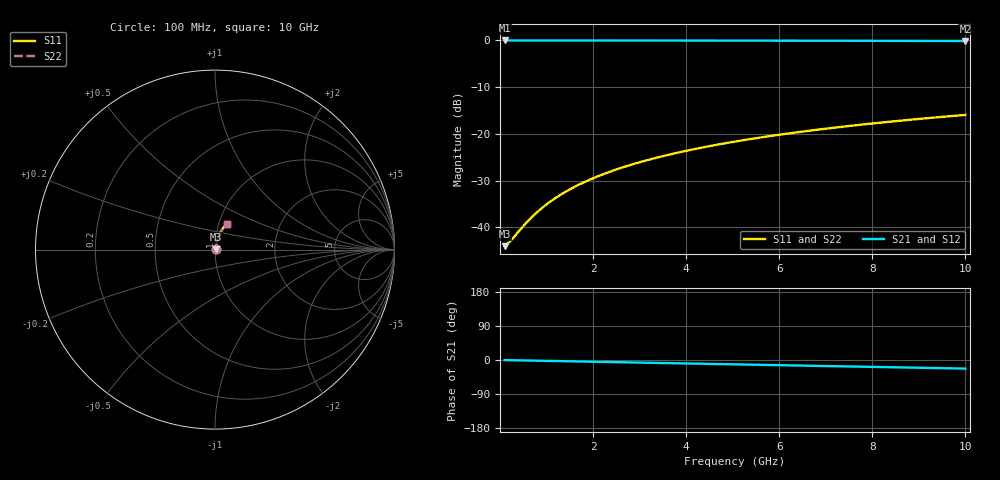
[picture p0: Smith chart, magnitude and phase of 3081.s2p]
# Hz S RI R 50.00
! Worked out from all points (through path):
!   100 points, 100 MHz to 10 GHz, reference 50 ohm
!   highest |S21| = -0.05 dB at 100 MHz (marker M1); lowest = -0.2 dB at 10 GHz (marker M2)
!   group delay of S21, straight-line fit = 6.3 ps
!   lowest |S11| = -44.0 dB at 100 MHz (marker M3), VSWR 1.01, Z = 50.6 + j0.164 ohm
!   |S11| at or under -10 dB: start of sweep to end of sweep
!   |S22| runs from -44.0 to -16.0 dB; largest |S21 - S12| = 0
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1e8  0.00607 0.00162  0.9939 -0.00396  0.9939 -0.00396  0.00607 0.00162
2e8  0.00613 0.00324  0.9939 -0.00792  0.9939 -0.00792  0.00613 0.00324
5e8  0.00634 0.00809  0.9936 -0.0198  0.9936 -0.0198  0.00634 0.00809
6e8  0.00643 0.00971  0.9935 -0.0237  0.9935 -0.0237  0.00643 0.00971
7e8  0.00653 0.0113  0.9933 -0.0277  0.9933 -0.0277  0.00653 0.0113
9e8  0.00676 0.0146  0.993 -0.0356  0.993 -0.0356  0.00676 0.0146
1.1e9  0.00704 0.0178  0.9926 -0.0435  0.9926 -0.0435  0.00704 0.0178
1.3e9  0.00737 0.021  0.9921 -0.0514  0.9921 -0.0514  0.00737 0.021
1.5e9  0.00775 0.0242  0.9916 -0.0593  0.9916 -0.0593  0.00775 0.0242
1.8e9  0.00841 0.029  0.9907 -0.0711  0.9907 -0.0711  0.00841 0.029
2.1e9  0.00919 0.0338  0.9896 -0.0829  0.9896 -0.0829  0.00919 0.0338
2.5e9  0.0104 0.0402  0.9878 -0.0986  0.9878 -0.0986  0.0104 0.0402
2.9e9  0.0118 0.0465  0.9858 -0.1143  0.9858 -0.1143  0.0118 0.0465
3.4e9  0.0138 0.0543  0.9829 -0.1338  0.9829 -0.1338  0.0138 0.0543
3.8e9  0.0157 0.0605  0.9803 -0.1494  0.9803 -0.1494  0.0157 0.0605
4.2e9  0.0177 0.0666  0.9773 -0.1648  0.9773 -0.1648  0.0177 0.0666
5.1e9  0.023 0.0801  0.9697 -0.1994  0.9697 -0.1994  0.023 0.0801
5.9e9  0.0285 0.0917  0.9617 -0.2297  0.9617 -0.2297  0.0285 0.0917
6.7e9  0.0347 0.1029  0.9527 -0.2596  0.9527 -0.2596  0.0347 0.1029
7.5e9  0.0416 0.1137  0.9427 -0.2891  0.9427 -0.2891  0.0416 0.1137
8.4e9  0.0501 0.1252  0.9301 -0.3217  0.9301 -0.3217  0.0501 0.1252
1e10  0.0671 0.1441  0.9048 -0.3779  0.9048 -0.3779  0.0671 0.1441
